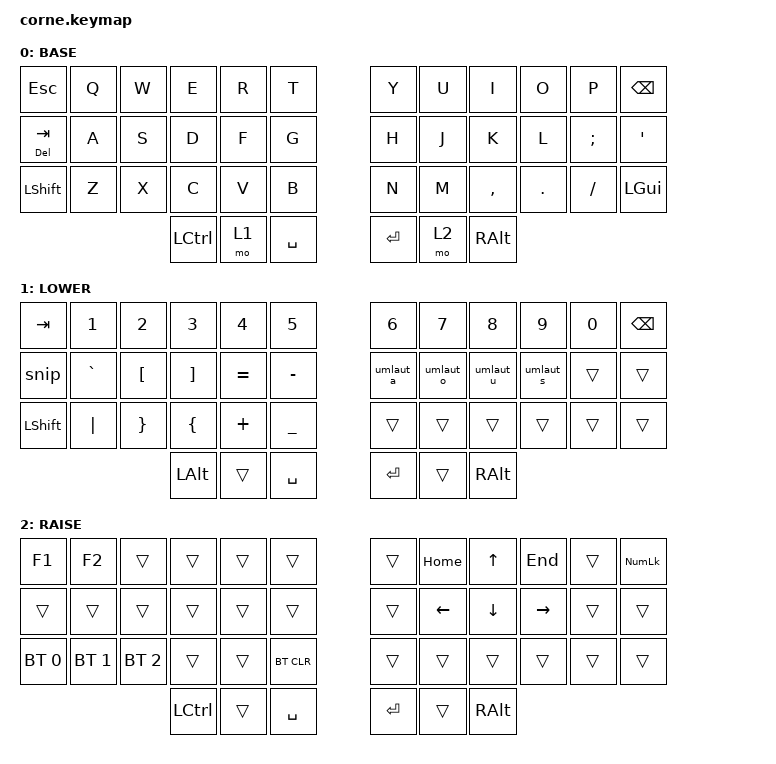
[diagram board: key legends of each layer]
/*
 * Copyright (c) 2020 The ZMK Contributors
 *
 * SPDX-License-Identifier: MIT
 */

#include <behaviors.dtsi>
#include <dt-bindings/zmk/keys.h>
#include <dt-bindings/zmk/bt.h>

/ {

        behaviors {
            del_tab: del_tab {
                compatible = "zmk,behavior-hold-tap";
                #binding-cells = <2>;
                tapping-term-ms = <200>;
                flavor = "tap-preferred";
                bindings = <&kp>, <&kp>;
            };
        };

        macros {
            umlaut_a: umlaut_a {
                compatible = "zmk,behavior-macro";
                #binding-cells = <0>;
                bindings = <&macro_press &kp RALT>,
                           <&macro_tap &kp Q>,
                           <&macro_release &kp RALT>;
            };
            /* umlaut_o: umlaut_o {
             *    compatible = "zmk,behavior-macro";
             *    #binding-cells = <0>;
             *    bindings = <&macro_press &kp RALT>,
             *              <&macro_tap &kp P>,
             *              <&macro_release &kp RALT>;
             * };
             */
            umlaut_o: umlaut_o {
                compatible = "zmk,behavior-macro";
                #binding-cells = <0>;
                bindings = <&macro_tap &kp RALT>,
                           <&macro_tap &kp P>;
            };
            umlaut_u: umlaut_u {
                compatible = "zmk,behavior-macro";
                #binding-cells = <0>;
                bindings = <&macro_press &kp RALT>,
                           <&macro_tap &kp Y>,
                           <&macro_release &kp RALT>;
            };
            umlaut_s: umlaut_s {
                compatible = "zmk,behavior-macro";
                #binding-cells = <0>;
                bindings = <&macro_press &kp RALT>,
                           <&macro_tap &kp S>,
                           <&macro_release &kp RALT>;
            };
            snip: snip {
                compatible = "zmk,behavior-macro";
                #binding-cells = <0>;
                bindings = <&macro_press &kp LSHFT &kp LGUI>,
                           <&macro_tap &kp S>,
                           <&macro_release &kp LSHFT &kp LGUI>;
                };
        };

        keymap {
                compatible = "zmk,keymap";

                default_layer {
                        bindings = <
   &kp ESC          &kp Q &kp W &kp E &kp R &kp T     &kp Y &kp U  &kp I  &kp O  &kp P  &kp BSPC
   &del_tab DEL TAB &kp A &kp S &kp D &kp F &kp G     &kp H &kp J  &kp K  &kp L  &kp SEMI &kp SQT
   &kp LSHFT        &kp Z &kp X &kp C &kp V &kp B     &kp N &kp M  &kp COMMA &kp DOT &kp FSLH &kp LGUI
                         &kp LCTRL &mo 1 &kp SPACE  &kp RET &mo 2 &kp RALT
                        >;
                display-name = "BASE";
                };
                lower_layer {
                        bindings = <
   &kp TAB   &kp N1    &kp N2   &kp N3    &kp N4    &kp N5      &kp N6     &kp N7    &kp N8    &kp N9    &kp N0  &kp BSPC
   &snip     &kp GRAVE &kp LBKT &kp RBKT  &kp EQUAL &kp MINUS   &umlaut_a  &umlaut_o &umlaut_u &umlaut_s &trans  &trans
   &kp LSHFT &kp PIPE  &kp RBRC &kp LBRC  &kp PLUS  &kp UNDER   &trans     &trans    &trans    &trans    &trans  &trans
                             &kp LALT &trans   &kp SPACE        &kp RET   &trans    &kp RALT
                        >;
                display-name = "LOWER";
                };
                raise_layer {
                        bindings = <
   &kp F1        &kp F2        &trans        &trans   &trans    &trans         &trans    &kp HOME  &kp UP    &kp END   &trans  &kp KP_NUM
   &trans        &trans        &trans        &trans   &trans    &trans         &trans    &kp LEFT  &kp DOWN  &kp RIGHT &trans  &trans
   &bt BT_SEL 0  &bt BT_SEL 1  &bt BT_SEL 2  &trans   &trans    &bt BT_CLR     &trans    &trans    &trans    &trans  &trans  &trans
                             &kp LCTRL   &trans    &kp SPACE                     &kp RET   &trans    &kp RALT
                        >;
                display-name = "RAISE";
                };
        };
};
